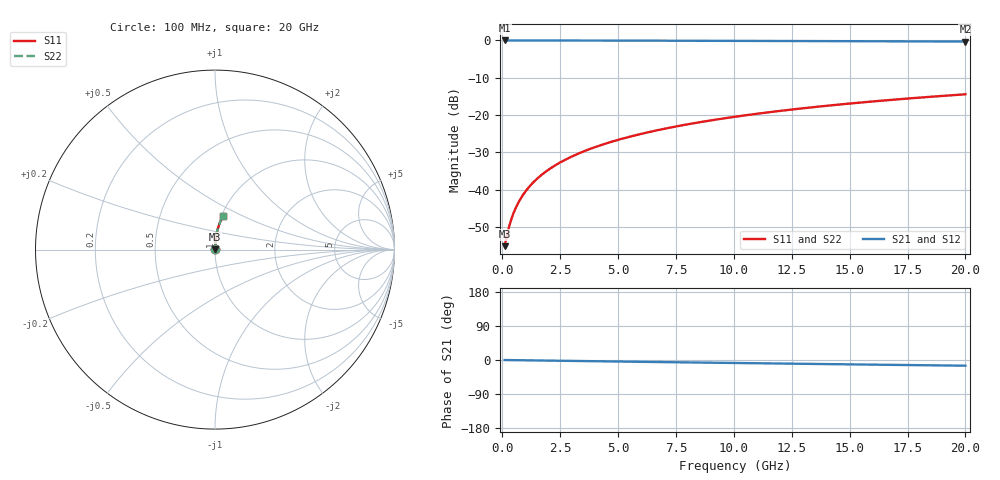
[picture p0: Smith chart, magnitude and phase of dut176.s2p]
! Touchstone file exported from HFSS 2024.1.0
!  File:  C:/UserFiles/LocalFiles/RDL_TSV_Batchsim/temp_RDL_top_176_1778686082.aedt
!  Generated:  11:30:19 PM May 13, 2026
!  Design:  RDL_top
!  Project:  temp_RDL_top_176_1778686082
!  Setup:  Setup1
!  Solution:  Sweep
! Variables:
!  dtsv = 10.80580581um
!  hbump = 3um
!  htsv = 68.94um
!  ldown = 100um
!  lrdl = 168.14um
!  p = 40
!  p1 = 43.75um
!  rhole = 1um
!  t = 450um
!  tdown = 3.915915916um
!  trdl = 3.33um
!  wdown = 15.38538539um
!  wrdl = 14.05um
# GHz S MA R 50.000000
! Terminal data exported
! Port[1] = Box2_T1
! Port[2] = Box2_T2
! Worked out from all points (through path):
!   200 points, 100 MHz to 20 GHz, reference 50 ohm
!   highest |S21| = -0.01 dB at 100 MHz (marker M1); lowest = -0.3 dB at 20 GHz (marker M2)
!   group delay of S21, straight-line fit = 2.08 ps
!   lowest |S11| = -55.1 dB at 100 MHz (marker M3), VSWR 1.00, Z = 50.1 + j0.097 ohm
!   |S11| at or under -10 dB: start of sweep to end of sweep
!   |S22| runs from -55.1 to -14.4 dB; largest |S21 - S12| = 3.1e-15
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0.1  0.001749 33.6  0.9985 -0.1  0.9985 -0.1  0.001749 33.6
! Gamma 0 0 0 0
! Port Impedance 50 0 50 0
0.2  0.002431 52.4  0.9985 -0.2  0.9985 -0.2  0.002431 52.4
0.3  0.003248 62.1  0.9985 -0.3  0.9985 -0.3  0.003248 62.1
0.4  0.00411 67.8  0.9984 -0.3  0.9984 -0.3  0.00411 67.8
0.5  0.004988 71.4  0.9984 -0.4  0.9984 -0.4  0.004988 71.4
0.6  0.005874 74.0  0.9983 -0.5  0.9983 -0.5  0.005874 74.0
0.8  0.007659 77.4  0.9982 -0.7  0.9982 -0.7  0.007659 77.4
1.1  0.01036 80.3  0.9981 -0.9  0.9981 -0.9  0.01036 80.3
1.5  0.01399 82.5  0.9979 -1.2  0.9979 -1.2  0.01399 82.5
1.8  0.01673 83.5  0.9978 -1.5  0.9978 -1.5  0.01673 83.5
2.1  0.01948 84.2  0.9976 -1.7  0.9976 -1.7  0.01948 84.2
2.7  0.02501 85.0  0.9971 -2.2  0.9971 -2.2  0.02501 85.0
3.5  0.03243 85.6  0.9963 -2.9  0.9963 -2.9  0.03243 85.6
4.2  0.03897 85.8  0.9955 -3.4  0.9955 -3.4  0.03897 85.8
5  0.04649 85.8  0.9945 -4.1  0.9945 -4.1  0.04649 85.8
5.9  0.05501 85.6  0.9932 -4.8  0.9932 -4.8  0.05501 85.6
6.8  0.06358 85.3  0.9917 -5.5  0.9917 -5.5  0.06358 85.3
8.3  0.07797 84.7  0.9892 -6.6  0.9892 -6.6  0.07797 84.7
10.1  0.09533 83.7  0.9859 -8.0  0.9859 -8.0  0.09533 83.7
13.4  0.1272 81.6  0.9794 -10.4  0.9794 -10.4  0.1272 81.6
16.7  0.1587 79.3  0.9725 -12.7  0.9725 -12.7  0.1587 79.2
20  0.1897 76.9  0.9652 -15.1  0.9652 -15.1  0.1897 76.9
